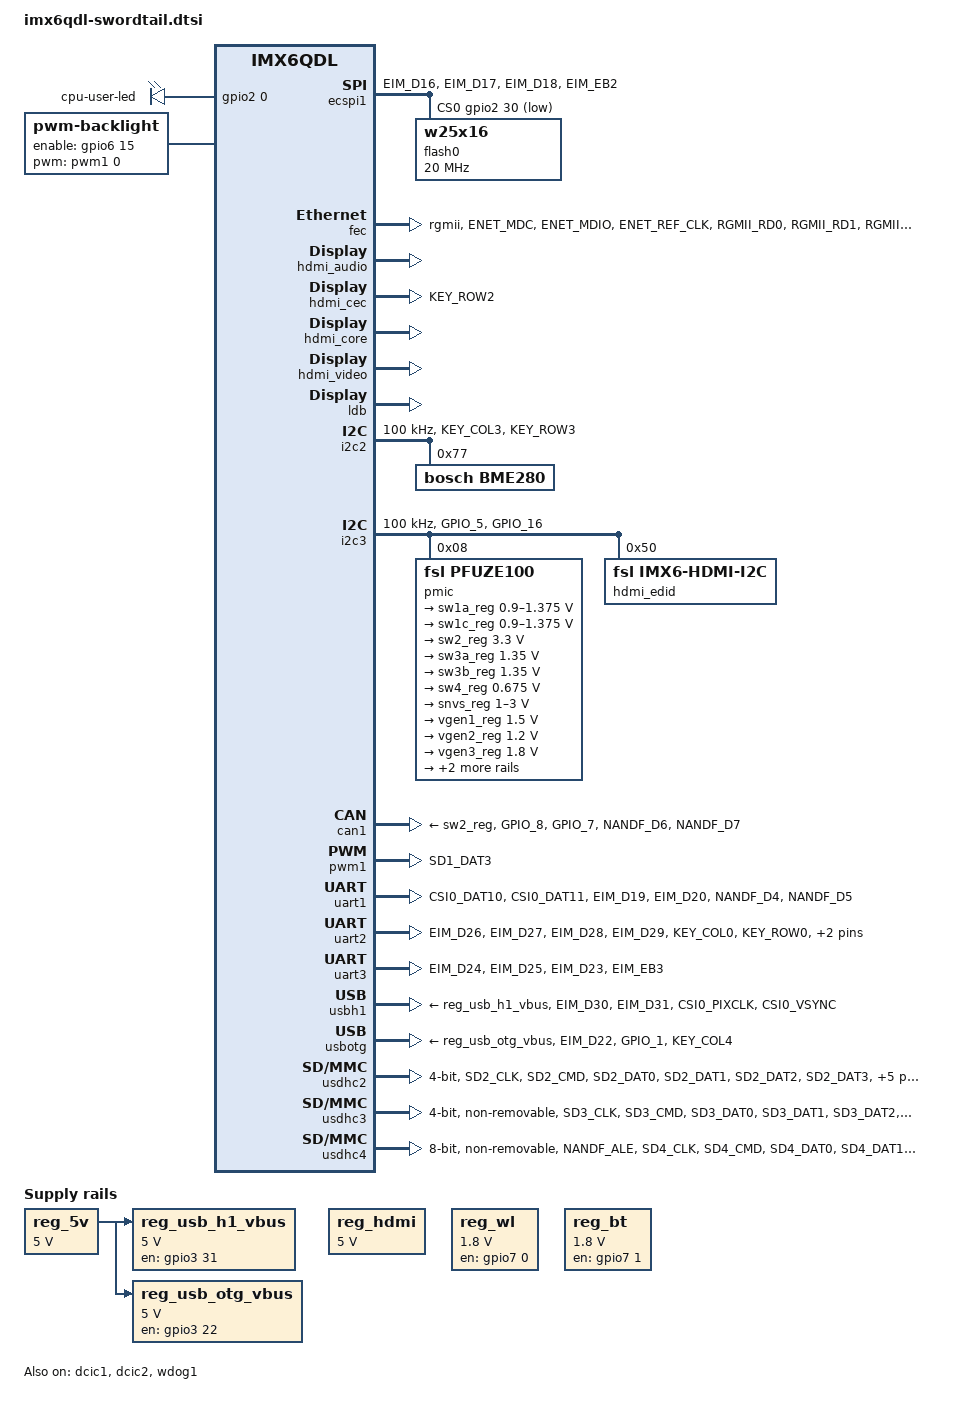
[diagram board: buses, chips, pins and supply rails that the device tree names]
/*
 * Copyright 2012-2016 Freescale Semiconductor, Inc.
 * Copyright 2011 Linaro Ltd.
 *
 * The code contained herein is licensed under the GNU General Public
 * License. You may obtain a copy of the GNU General Public License
 * Version 2 or later at the following locations:
 *
 * http://www.opensource.org/licenses/gpl-license.html
 * http://www.gnu.org/copyleft/gpl.html
 */

#include <dt-bindings/gpio/gpio.h>
#include <dt-bindings/input/input.h>

/ {
	aliases {
		mxcfb0 = &mxcfb1;
                mxcfb1 = &mxcfb2;
	};

	chosen {
		stdout-path = &uart1;
	};

	leds {
		compatible = "gpio-leds";
		cpu-user-led {
			gpios = <&gpio2 0 GPIO_ACTIVE_HIGH>;
			linux,default-trigger = "heartbeat"; /* blink PLED */
			retain-state-suspended;
		};
	};

        regulators {

                compatible = "simple-bus";
                #address-cells = <1>;
                #size-cells = <0>;
  
  
                /* MJ: updates 1/31/18, add a 5V regulator for use as vin-supply for USB and HDMI */
                reg_5v: regulator@0{
                        compatible = "regulator-fixed";
                        reg = <0>;
                        regulator-name = "5V_Supply";
                        regulator-min-microvolt = <5000000>;
                        regulator-max-microvolt = <5000000>;
	  		startup-delay-us = <70000>;
                        regulator-boot-on;
                };
  
                reg_usb_h1_vbus: regulator@1{
                        compatible = "regulator-fixed";
                        reg = <1>;
                        regulator-name = "usb_h1_vbus";
                        regulator-min-microvolt = <5000000>;
                        regulator-max-microvolt = <5000000>;
                        gpio = <&gpio3 31 GPIO_ACTIVE_HIGH>;
                        enable-active-high;
                        vin-supply = <&reg_5v>;
                };
  
                reg_usb_otg_vbus: regulator@2{
                        compatible = "regulator-fixed";
                        reg = <2>;
                        regulator-name = "usb_otg_vbus";
                        regulator-min-microvolt = <5000000>;
                        regulator-max-microvolt = <5000000>;
                        gpio = <&gpio3 22 1>;
                        enable-active-high;
                        vin-supply = <&reg_5v>;
                };
 
                reg_hdmi: regulator@5 {
                        compatible = "regulator-fixed";
                        reg = <5>;
                        regulator-name = "hdmi-5v-supply";
                        regulator-min-microvolt = <5000000>;
                        regulator-max-microvolt = <5000000>;
                        enable-active-high;
                        hdmi-5v-supply = <&reg_5v>;
                };

		reg_wl: regulator-wl { /* add */
			compatible = "regulator-fixed"; /* add */
			regulator-name = "wl"; /* add */
			gpio = <&gpio7 0 GPIO_ACTIVE_HIGH>; /* add - WiFi Regulator Enable, GPIO7_IO00 */
			startup-delay-us = <100>; /* add - enable after 100us*/
			enable-active-high; /* add */
			regulator-min-microvolt = <1800000>; /* add */
			regulator-max-microvolt = <1800000>; /* add */
			regulator-always-on; /* add */
		}; /* add */
		
		reg_bt: regulator-bt { /* add */
			compatible = "regulator-fixed"; /* add */
			regulator-name = "bt"; /* add */
			gpio = <&gpio7 1 GPIO_ACTIVE_HIGH>; /* add - Bluetooth Regulator Enable, GPIO7_IO01 */
			startup-delay-us = <100>; /* add - enable after 100us */
			enable-active-high; /* add */
			regulator-min-microvolt = <1800000>; /* add */
			regulator-max-microvolt = <1800000>; /* add */
			regulator-always-on; /* add */
		}; /* add */

	};

	sound-hdmi {
		compatible = "fsl,imx6q-audio-hdmi",
			     "fsl,imx-audio-hdmi";
		model = "imx-audio-hdmi";
		hdmi-controller = <&hdmi_audio>;
	};

	/* LVDS to VGA converter (or LVDS Panel) */
        mxcfb1: fb@0 {
                compatible = "fsl,mxc_sdc_fb";
                disp_dev = "ldb";
                interface_pix_fmt = "RGB666";
                default_bpp = <16>; 
                int_clk = <0>;
                late_init = <0>;
                status = "disabled";
        };
	backlight {
		compatible = "pwm-backlight";
		pwms = <&pwm1 0 5000000>;
		brightness-levels = <0 4 8 16 32 64 128 255>;
		default-brightness-level = <7>;
		enable-gpios = <&gpio6 15 GPIO_ACTIVE_HIGH>;
		status = "okay";
	};

        /* HDMI video settings */
        mxcfb2: fb@1 {
                compatible = "fsl,mxc_sdc_fb";
                disp_dev = "hdmi";
                interface_pix_fmt = "RGB24";
                mode_str ="1920x1080M@60";
                default_bpp = <24>;
                int_clk = <0>;
                late_init = <0>;
                status = "okay";
        };

	v4l2_out {
		compatible = "fsl,mxc_v4l2_output";
		status = "okay";
	};

};

/* no Audio Codec on Swordtail */
&audmux {
	status = "disabled";
};

&cpu0 {
/*
	arm-supply = <&sw1a_reg>;
	soc-supply = <&sw1c_reg>;
*/
};

&ecspi1 {
        fsl,spi-num-chipselects = <1>;
        cs-gpios = <
		&gpio2 30 GPIO_ACTIVE_LOW
		>; 
        pinctrl-names = "default";
        pinctrl-0 = <&pinctrl_ecspi1 &pinctrl_ecspi1_cs>;
        status = "okay";

        flash0: w25x16@0 {
                #address-cells = <1>;
                #size-cells = <1>;
                compatible = "w25x16", "jedec,spi-nor";
                spi-max-frequency = <20000000>;
                reg = <0>;
        };
};

/* no SPI2 on Swordtail */
&ecspi2 {
        status = "disabled";

};

/* no SPI3 on Swordtail */
&ecspi3 {
	status = "disabled";
};

&fec {
	pinctrl-names = "default";
	pinctrl-0 = <&pinctrl_enet>;
	phy-mode = "rgmii";
/*
	phy-reset-gpios = <&gpio1 25 GPIO_ACTIVE_LOW>;
	phy-reset-duration = <100>;
*/
	/*fsl,magic-packet;*/
	status = "okay";
        txen-skew-ps = <0>;
        txc-skew-ps = <3000>;
        rxdv-skew-ps = <0>;
        rxc-skew-ps = <3000>;
        rxd0-skew-ps = <0>;
        rxd1-skew-ps = <0>;
        rxd2-skew-ps = <0>;
        rxd3-skew-ps = <0>;
        txd0-skew-ps = <0>;
        txd1-skew-ps = <0>;
        txd2-skew-ps = <0>;
        txd3-skew-ps = <0>;
};

&gpc {
	fsl,ldo-bypass = <1>; /* use ldo-bypass, u-boot will check it and configure */
	fsl,wdog-reset = <2>; /* watchdog select of reset source */
};

&dcic1 {
	dcic_id = <0>;
	dcic_mux = "dcic-hdmi";
	status = "okay";
};

&dcic2 {
	dcic_id = <1>;
	dcic_mux = "dcic-lvds0";
	status = "okay";
};

&hdmi_audio {
	status = "okay";
};

&hdmi_cec {
	pinctrl-names = "default";
	pinctrl-0 = <&pinctrl_hdmi_cec>;
	status = "okay";
};

&hdmi_core {
	ipu_id = <0>;
	disp_id = <0>;
	status = "okay";
};

&hdmi_video {
	fsl,phy_reg_vlev = <0x0294>;
	fsl,phy_reg_cksymtx = <0x800d>;
	HDMI-supply = <&reg_hdmi>; /* 5V */
	status = "okay";
};

&ldb {
	status = "okay";

	lvds-channel@0 {
                crtc = "ipu2-di0";
		fsl,data-mapping = "spwg";
		fsl,data-width = <18>; /* change for panel type */
                primary;
		status = "okay";

		display-timings {
			native-mode = <&timing0>;
			timing0: hsd100pxn1 {
				clock-frequency = <65000000>;
				hactive = <1024>;
				vactive = <768>;
				hback-porch = <220>;
				hfront-porch = <40>;
				vback-porch = <21>;
				vfront-porch = <7>;
				hsync-len = <60>;
				vsync-len = <10>;
			};
		};
	};
};
/* I2C1 Not used in Swordtail */
&i2c1 {
	status = "disabled";
}; 

&i2c2 {
	clock-frequency = <100000>;
	pinctrl-names = "default";
	pinctrl-0 = <&pinctrl_i2c2>;
	status = "okay";

	/* test board device */
        bme280@77 {
                compatible = "bosch,bme280";
                reg = <0x77>;
        };

};

/* On-board devices only */
&i2c3 {
	clock-frequency = <100000>;
	pinctrl-names = "default";
	pinctrl-0 = <&pinctrl_i2c3>;
	status = "okay";

	pmic: pfuze100@08 {
		compatible = "fsl,pfuze100";
		reg = <0x08>;

           regulators {

                /* SW1AB = V1P375_CORE, sequence #2 */
                sw1a_reg: sw1ab {
                     regulator-min-microvolt = <900000>;
                     regulator-max-microvolt = <1375000>;
                     regulator-boot-on;
                     regulator-always-on;
                };

                /* SW1C = V1P375_SOC, sequence #3 */
                sw1c_reg: sw1c {
                     regulator-min-microvolt = <900000>;
                     regulator-max-microvolt = <1375000>;
                     regulator-boot-on;
                     regulator-always-on;
                };

                /* SW2 = V3P3, sequence #6 */
                sw2_reg: sw2 {
                     regulator-min-microvolt = <3300000>;
                     regulator-max-microvolt = <3300000>;
                     regulator-boot-on;
                     regulator-always-on;
                };

                /* SW3A and SW3B = V1P35_DDR, sequence #4 */
                sw3a_reg: sw3a {
                     regulator-min-microvolt = <1350000>;
                     regulator-max-microvolt = <1350000>;
                     regulator-boot-on;
                     regulator-always-on;
                };

                /* SW3A and SW3B = V1P35_DDR, sequence #4 */
                sw3b_reg: sw3b {
                     regulator-min-microvolt = <1350000>;
                     regulator-max-microvolt = <1350000>;
                     regulator-boot-on;
                     regulator-always-on;
                };

                /* SW4 = V0P675_DDR_VTT = 0.5(SW3A) when VTT = Enabled, sequence #4 */
                sw4_reg: sw4 {
                     regulator-min-microvolt = <675000>;
                     regulator-max-microvolt = <675000>;
                     regulator-boot-on;
                     regulator-always-on;
                };

                /* SWBST (NOT USED), sequence #0 */

                /* VSNVS = V3_VSNVS (Coin Cell/LDO in PMIC), not sequenced */
                /* Always on per battery or on per Vin */
                snvs_reg: vsnvs {
                     regulator-min-microvolt = <1000000>;
                     regulator-max-microvolt = <3000000>;
                     regulator-boot-on;
                     regulator-always-on;
                };

                /* VREFDDR = V0P675_DDR_VREF, sequence #4 */
                vref_reg: vrefddr {
                     regulator-boot-on;
                     regulator-always-on;
                };

                /* VGEN1 = V1P5_MINI, sequence #31 */
                /* last rail to turn on, delays reset release */
                vgen1_reg: vgen1 {
                     regulator-min-microvolt = <1500000>;
                     regulator-max-microvolt = <1500000>;
                     /*regulator-boot-on;*/
                     /*regulator-always-on;*/
				
				/* Suspend-to-RAM allows for turning off ??? */
				/*regulator-state-mem {
					regulator-off-in-suspend;
				};
                           */
				/* Suspend-to-DISK allows for turning off ??? */
				/*regulator-state-disk {
					regulator-off-in-suspend;
				};
                           */
			};
                /* VGEN2 = V1P2_ETH, sequence #9 */
                vgen2_reg: vgen2 {
                     regulator-min-microvolt = <1200000>;
                     regulator-max-microvolt = <1200000>;
                     regulator-boot-on;
                     regulator-always-on;
                };

                /* VGEN3 = V1P8_AUDIO, sequence #6 */
                vgen3_reg: vgen3 {
                     regulator-min-microvolt = <1800000>;
                     regulator-max-microvolt = <1800000>;
                     regulator-boot-on;
                     regulator-always-on;
                };

                /* VGEN4 (NOT USED), sequence #0 */

                /* VGEN5 = V2P5_ETH, sequence #8 */
                vgen5_reg: vgen5 {
                     regulator-min-microvolt = <2500000>;
                     regulator-max-microvolt = <2500000>;
                     regulator-boot-on;
                     regulator-always-on;
                };

                /* VGEN6 = V3_ALWAYS, sequence #1 */
                vgen6_reg: vgen6 {
                     regulator-min-microvolt = <3000000>;
                     regulator-max-microvolt = <3000000>;
                     regulator-boot-on;
                     regulator-always-on;
                };
	    };
	};

        hdmi_edid: edid@50 {
                compatible = "fsl,imx6-hdmi-i2c";
                reg = <0x50>;
        };

};

&clks {
        assigned-clocks = <&clks IMX6QDL_CLK_LDB_DI0_SEL>,
                          <&clks IMX6QDL_CLK_LDB_DI1_SEL>;
        assigned-clock-parents = <&clks IMX6QDL_CLK_PLL2_PFD0_352M>,
                                 <&clks IMX6QDL_CLK_PLL2_PFD0_352M>;
};

&can1 {
        pinctrl-names = "default";
        pinctrl-0 = <&pinctrl_flexcan1>;
	xceiver-supply = <&sw2_reg>; 
        status = "okay";
};

/* no CAN2 on Swordtail */
&can2 {
        status = "disabled";
};

/* MJ - Added Wi-Fi and BT (sd3 and gpios = pinctrl_usdhc3; uart3=pinctrl_uart3) */
/* MJ - Added Cellular (uart2 and gpios = pinctrl_uart2) */

&iomuxc {
	pinctrl-names = "default";
	pinctrl-0 = <&pinctrl_hog>;
	
	imx6qdl-zebra {
		pinctrl_hog: hoggrp {
			fsl,pins = <
				/* UNUSED PINS -- set drivers = Hi-z and enable 100k pull res */
				MX6QDL_PAD_CSI0_DAT12__GPIO5_IO30	0x0000B000
				MX6QDL_PAD_CSI0_DAT13__GPIO5_IO31	0x0000B000
				MX6QDL_PAD_CSI0_DAT14__GPIO6_IO00	0x0000B000
				MX6QDL_PAD_CSI0_DAT15__GPIO6_IO01	0x0000B000
				MX6QDL_PAD_CSI0_DAT16__GPIO6_IO02	0x0000B000
				MX6QDL_PAD_CSI0_DAT17__GPIO6_IO03	0x0000B000
				MX6QDL_PAD_CSI0_DAT18__GPIO6_IO04	0x0000B000
				MX6QDL_PAD_CSI0_DAT19__GPIO6_IO05	0x0000B000
				MX6QDL_PAD_CSI0_DAT4__GPIO5_IO22	0x0000B000
				MX6QDL_PAD_CSI0_DAT5__GPIO5_IO23	0x0000B000
				MX6QDL_PAD_CSI0_DAT6__GPIO5_IO24	0x0000B000
				MX6QDL_PAD_CSI0_DAT7__GPIO5_IO25	0x0000B000
				MX6QDL_PAD_CSI0_DAT8__GPIO5_IO26	0x0000B000
				MX6QDL_PAD_CSI0_DAT9__GPIO5_IO27	0x0000B000
				MX6QDL_PAD_CSI0_DATA_EN__GPIO5_IO20	0x0000B000
				MX6QDL_PAD_CSI0_MCLK__GPIO5_IO19	0x0000B000
				MX6QDL_PAD_DI0_DISP_CLK__GPIO4_IO16	0x0000B000
				MX6QDL_PAD_DI0_PIN15__GPIO4_IO17	0x0000B000
				MX6QDL_PAD_DI0_PIN3__GPIO4_IO19		0x0000B000
				MX6QDL_PAD_DI0_PIN4__GPIO4_IO20		0x0000B000
				MX6QDL_PAD_DISP0_DAT11__GPIO5_IO05	0x0000B000
				MX6QDL_PAD_DISP0_DAT13__GPIO5_IO07	0x0000B000
				MX6QDL_PAD_DISP0_DAT14__GPIO5_IO08	0x0000B000
				MX6QDL_PAD_DISP0_DAT16__GPIO5_IO10	0x0000B000
				MX6QDL_PAD_DISP0_DAT17__GPIO5_IO11	0x0000B000
				MX6QDL_PAD_DISP0_DAT18__GPIO5_IO12	0x0000B000
				MX6QDL_PAD_DISP0_DAT19__GPIO5_IO13	0x0000B000
				MX6QDL_PAD_DISP0_DAT20__GPIO5_IO14	0x0000B000
				MX6QDL_PAD_DISP0_DAT21__GPIO5_IO15	0x0000B000
				MX6QDL_PAD_DISP0_DAT23__GPIO5_IO17	0x0000B000
				MX6QDL_PAD_DISP0_DAT0__GPIO4_IO21	0x0000B000
				MX6QDL_PAD_DISP0_DAT1__GPIO4_IO22	0x0000B000
				MX6QDL_PAD_DISP0_DAT2__GPIO4_IO23	0x0000B000
				MX6QDL_PAD_DISP0_DAT3__GPIO4_IO24	0x0000B000
				MX6QDL_PAD_DISP0_DAT4__GPIO4_IO25	0x0000B000
				MX6QDL_PAD_DISP0_DAT5__GPIO4_IO26	0x0000B000
				MX6QDL_PAD_DISP0_DAT6__GPIO4_IO27	0x0000B000
				MX6QDL_PAD_DISP0_DAT7__GPIO4_IO28	0x0000B000
				MX6QDL_PAD_EIM_A16__GPIO2_IO22		0x0000B000
				MX6QDL_PAD_EIM_A17__GPIO2_IO21		0x0000B000
				MX6QDL_PAD_EIM_A18__GPIO2_IO20		0x0000B000
				MX6QDL_PAD_EIM_A19__GPIO2_IO19		0x0000B000
				MX6QDL_PAD_EIM_A20__GPIO2_IO18		0x0000B000
				MX6QDL_PAD_EIM_A21__GPIO2_IO17		0x0000B000
				MX6QDL_PAD_EIM_A22__GPIO2_IO16		0x0000B000
				MX6QDL_PAD_EIM_A23__GPIO6_IO06		0x0000B000
				MX6QDL_PAD_EIM_A24__GPIO5_IO04		0x0000B000
				MX6QDL_PAD_EIM_BCLK__GPIO6_IO31		0x0000B000
				MX6QDL_PAD_EIM_DA0__GPIO3_IO00		0x0000B000
				MX6QDL_PAD_EIM_DA1__GPIO3_IO01		0x0000B000
				MX6QDL_PAD_EIM_DA10__GPIO3_IO10		0x0000B000
				MX6QDL_PAD_EIM_DA11__GPIO3_IO11		0x0000B000
				MX6QDL_PAD_EIM_DA12__GPIO3_IO12		0x0000B000
				MX6QDL_PAD_EIM_DA13__GPIO3_IO13		0x0000B000
				MX6QDL_PAD_EIM_DA14__GPIO3_IO14		0x0000B000
				MX6QDL_PAD_EIM_DA15__GPIO3_IO15		0x0000B000
				MX6QDL_PAD_EIM_DA2__GPIO3_IO02		0x0000B000
				MX6QDL_PAD_EIM_DA3__GPIO3_IO03		0x0000B000
				MX6QDL_PAD_EIM_DA4__GPIO3_IO04		0x0000B000
				MX6QDL_PAD_EIM_DA5__GPIO3_IO05		0x0000B000
				MX6QDL_PAD_EIM_DA6__GPIO3_IO06		0x0000B000
				MX6QDL_PAD_EIM_DA7__GPIO3_IO07		0x0000B000
				MX6QDL_PAD_EIM_DA8__GPIO3_IO08		0x0000B000
				MX6QDL_PAD_EIM_DA9__GPIO3_IO09		0x0000B000
				MX6QDL_PAD_EIM_D21__GPIO3_IO21		0x0000B000
				MX6QDL_PAD_EIM_EB0__GPIO2_IO28		0x0000B000
				MX6QDL_PAD_EIM_EB1__GPIO2_IO29		0x0000B000
				MX6QDL_PAD_EIM_LBA__GPIO2_IO27		0x0000B000
				MX6QDL_PAD_EIM_WAIT__GPIO5_IO00		0x0000B000
				MX6QDL_PAD_ENET_RX_ER__GPIO1_IO24	0x0000B000
				MX6QDL_PAD_ENET_RXD0__GPIO1_IO27	0x0000B000
				MX6QDL_PAD_ENET_TXD0__GPIO1_IO30	0x0000B000
				MX6QDL_PAD_ENET_TXD1__GPIO1_IO29	0x0000B000
				MX6QDL_PAD_GPIO_0__GPIO1_IO00		0x0000B000
				MX6QDL_PAD_GPIO_17__GPIO7_IO12		0x0000B000
				MX6QDL_PAD_GPIO_18__GPIO7_IO13		0x0000B000
				MX6QDL_PAD_GPIO_19__GPIO4_IO05		0x0000B000
				MX6QDL_PAD_KEY_COL2__GPIO4_IO10		0x0000B000
				MX6QDL_PAD_KEY_ROW4__GPIO4_IO15		0x0000B000
				MX6QDL_PAD_NANDF_CS0__GPIO6_IO11	0x0000B000
				MX6QDL_PAD_NANDF_CS1__GPIO6_IO14	0x0000B000
				MX6QDL_PAD_NANDF_D1__GPIO2_IO01		0x0000B000				
				MX6QDL_PAD_NANDF_D2__GPIO2_IO02		0x0000B000
				MX6QDL_PAD_NANDF_RB0__GPIO6_IO10	0x0000B000
				MX6QDL_PAD_NANDF_WP_B__GPIO6_IO09	0x0000B000
                                MX6QDL_PAD_EIM_CS0__GPIO2_IO23          0x0000B000
                                MX6QDL_PAD_EIM_OE__GPIO2_IO25           0x0000B000
                                MX6QDL_PAD_EIM_CS1__GPIO2_IO24          0x0000B000
				MX6QDL_PAD_EIM_RW__GPIO2_IO26           0x0000B000

                                /* Programmable LED (CPU_PLED) output for User I/O */
				MX6QDL_PAD_NANDF_D0__GPIO2_IO00         0x0001B018
				/* Wireless Disable (DISABLE_W#), default to off (pull-up since active low) */
				MX6QDL_PAD_NANDF_D3__GPIO2_IO03		0x0001B098

                                /* Updated for TP - can probe for 24MHz ref clk */
                                MX6QDL_PAD_GPIO_3__XTALOSC_REF_CLK_24M     0x00013098 
                                /* Updated for TP - can probe for 32KHz ref clk */
				/* MJ: pin repurposed as FLEXCAN1_RX */ 
                                /*MX6QDL_PAD_GPIO_8__XTALOSC_REF_CLK_32K     0x00013098*/ 

                                /* COMP_IRQ# input on Tetra and Zebra, NC for Swordtail */
				/* 0x0000B000 assignment is only pull-up enabled */
				MX6QDL_PAD_DI0_PIN2__GPIO4_IO18            0x0000B000
                                
				/* PMIC_INT# input (pull-up = off by default) */
				MX6QDL_PAD_DISP0_DAT12__GPIO5_IO06         0x0001B0B0

                                /* was USB_HUB_RST# out for Tetra, NC for Zebra and Swordtail */
				/* 0x0000B000 assignment is only pull-up enabled */
				MX6QDL_PAD_DISP0_DAT22__GPIO5_IO16         0x0000B000

                                /* SOC_RSTOUT# out (pull-up = off by default) */
 				MX6QDL_PAD_EIM_A25__GPIO5_IO02             0x0001B030
   
                                /* LVDS control/status signals on Tetra and Swordtail */ 
				/* LVDS_BKLTEN: Slow slew, 90 Ohm, Slow speed, pull-down settings */
				MX6QDL_PAD_NANDF_CS2__GPIO6_IO15	   0x00013018                       		
				/* GPIO6_IO16 is LVDS_PANEL_PWREN output for Tetra and Swordtail */
                                MX6QDL_PAD_NANDF_CS3__GPIO6_IO16           0x00013018 
                                /* GPIO6_IO07 is PG_V3P3_LVDS input for Tetra and Swordtail */
				MX6QDL_PAD_NANDF_CLE__GPIO6_IO07           0x0001B018 

                                /* section for multifunction pins. Choose one function for each pin */                                  
                                /* PIN1: GPIO1/GPT_OUT1/PWM_OUT4 */
                                MX6QDL_PAD_SD1_CMD__GPIO1_IO18             0x0001B018 /* GPIO 1 */
                                /* MX6QDL_PAD_SD1_CMD__PWM4_OUT               0x0001B018 */ /* PWM_OUT4 */
                                /* MX6QDL_PAD_SD1_CMD__GPT_COMPARE1           0x0001B018 */ /* GPT_OUT1 */

				/* PIN2: GPIO2/GPT_IN1 */
                                MX6QDL_PAD_SD1_DAT0__GPIO1_IO16            0x0001B018 /* GPIO 2 */
                                /* MX6QDL_PAD_SD1_DAT0__GPT_CAPTURE1          0x0001B018 */ /* GPT_IN1 */

				/* PIN3: GPIO3/GPT_IN2/PWM_OUT3 */
                                MX6QDL_PAD_SD1_DAT1__GPIO1_IO17            0x0001B018 /* GPIO 3 */
                                /* MX6QDL_PAD_SD1_DAT1__PWM3_OUT              0x0001B018 */ /* PWM_OUT3 */
                                /* MX6QDL_PAD_SD1_DAT1__GPT_CAPTURE2          0x0001B018 */ /* GPT_IN2 */

				/* PIN4: GPIO4/GPT_OUT2/WDOG1_RST# */
                                MX6QDL_PAD_SD1_DAT2__GPIO1_IO19            0x0001B018 /* GPIO 4 */
                                /* MX6QDL_PAD_SD1_DAT2__GPT_COMPARE2          0x0001B018 */ /* GPT_OUT2 */
                                /* MX6QDL_PAD_SD1_DAT2__WDOG1_RESET_B_DEB     0x0001B018 */ /* WDOG1_RST# */

				/* PIN5: GPIO5/GPT_CLKIN */
                                MX6QDL_PAD_SD1_CLK__GPIO1_IO20             0x0001B018 /* GPIO 5 */
                                /* MX6QDL_PAD_SD1_CLK__GPT_CLKIN              0x0001B018 */ /* GPT_CLKIN */

				/* PIN6: GPIO 6 */
                                MX6QDL_PAD_DISP0_DAT10__GPIO4_IO31         0x0001B018 /* GPIO 6 */

				/* PIN7: GPIO7/PWM_OUT2/WDOG2# */
                                MX6QDL_PAD_DISP0_DAT9__GPIO4_IO30          0x0001B018 /* GPIO 7 */
                                /* MX6QDL_PAD_DISP0_DAT9__PWM2_OUT            0x0001B018 */ /*PWM_OUT2 */
				/* MX6QDL_PAD_DISP0_DAT9__WDOG2_B            0x0001B018 */ /*WDOG2# */

				/* PIN8: GPIO 8 */
                                MX6QDL_PAD_DISP0_DAT8__GPIO4_IO29          0x0001B018 /* GPIO 8 */

                                /* GP_IRQ#, set as open drain (might have mult. drivers) */
                                MX6QDL_PAD_DISP0_DAT15__GPIO5_IO09         0x0001B818 

			>;
		};

		pinctrl_flexcan1: flexcan1grp {
			fsl,pins = <
				/* MJ - Had to move the RX and TX pins for Swordtail */
				MX6QDL_PAD_GPIO_8__FLEXCAN1_RX             0x0001B098
				MX6QDL_PAD_GPIO_7__FLEXCAN1_TX             0x0001B098
				/* currently unused CAN transceiver control signals */
                                /* set to 100k pull-down, 90 Ohm, low spd, slow slew */ 
                                /* FLEXCAN1_CTRL - pull-down */
				MX6QDL_PAD_NANDF_D6__GPIO2_IO06            0x00013018
                                /* FLEXCAN1_STBY - pull-down */ /* MJ - Had to move this pin */
				MX6QDL_PAD_NANDF_D7__GPIO2_IO07            0x00013018
			>;
		};

		pinctrl_ecspi1: ecspi1grp {
			fsl,pins = <
                                /* set fast slew, 33 Ohm driver, pull-down */
				MX6QDL_PAD_EIM_D16__ECSPI1_SCLK            0x000130B9
				MX6QDL_PAD_EIM_D17__ECSPI1_MISO            0x00013099
				MX6QDL_PAD_EIM_D18__ECSPI1_MOSI            0x00013099
			>;
		};
		pinctrl_ecspi1_cs: ecspi1cs {
                        fsl,pins = <
				MX6QDL_PAD_EIM_EB2__GPIO2_IO30		   0x0001B098
                        >;
                };

		pinctrl_i2c2: i2c2grp {
			fsl,pins = <
				MX6QDL_PAD_KEY_COL3__I2C2_SCL              0x4001b899
				MX6QDL_PAD_KEY_ROW3__I2C2_SDA              0x4001b899
			 >;
		};

		/* MJ - this is the on-board devices I2C bus */
                pinctrl_i2c3: i2c3grp {
                        fsl,pins = <
                                MX6QDL_PAD_GPIO_5__I2C3_SCL                0x4001b899
                                MX6QDL_PAD_GPIO_16__I2C3_SDA               0x4001b899
                        >;
                };

		/*  MJ changes to pin control for ENET_MDIO (lower drive strength 60 Ohm) 
                 *  and ENET_CRS_DV (RGMII_RST#) set as open-drain output with pull-up */
		pinctrl_enet: enetgrp {
			fsl,pins = <
				MX6QDL_PAD_ENET_MDC__ENET_MDC              0x0001B0B0
				MX6QDL_PAD_ENET_MDIO__ENET_MDIO            0x0001B0A0
				MX6QDL_PAD_ENET_REF_CLK__ENET_TX_CLK       0x0001B0B0
				MX6QDL_PAD_RGMII_RD0__RGMII_RD0            0x0001B030
				MX6QDL_PAD_RGMII_RD1__RGMII_RD1            0x0001B030
				MX6QDL_PAD_RGMII_RD2__RGMII_RD2            0x0001B030
				MX6QDL_PAD_RGMII_RD3__RGMII_RD3            0x0001B030
				MX6QDL_PAD_RGMII_RXC__RGMII_RXC            0x00013030
				MX6QDL_PAD_RGMII_RX_CTL__RGMII_RX_CTL      0x00013030
				MX6QDL_PAD_RGMII_TD0__RGMII_TD0            0x0001B030
				MX6QDL_PAD_RGMII_TD1__RGMII_TD1            0x0001B030
				MX6QDL_PAD_RGMII_TD2__RGMII_TD2            0x0001B030
				MX6QDL_PAD_RGMII_TD3__RGMII_TD3            0x0001B030
				MX6QDL_PAD_RGMII_TXC__RGMII_TXC            0x00013030
				MX6QDL_PAD_RGMII_TX_CTL__RGMII_TX_CTL      0x00013030
                                /* RGMII_RST#, preserve u-boot pad control like SabreSD */
				MX6QDL_PAD_ENET_CRS_DV__GPIO1_IO25         0x80000000
				/* RGMII_INT# and RGMII_INT#_STATUS inputs respectively (GPIO)*/
                                MX6QDL_PAD_ENET_RXD1__GPIO1_IO26           0x0001B0B0
                                MX6QDL_PAD_ENET_TX_EN__GPIO1_IO28          0x0001B0B0
			>;
		};

		pinctrl_hdmi_cec: hdmicecgrp {
			fsl,pins = <
				MX6QDL_PAD_KEY_ROW2__HDMI_TX_CEC_LINE      0x00010898
			>;
		};

		pinctrl_pwm1: pwm1grp {
			fsl,pins = <
				/* LVDS_PWMO: Fast slew, 90 Ohm, Medium speed settings */
				MX6QDL_PAD_SD1_DAT3__PWM1_OUT              0x0001B099
			>;
		};

		pinctrl_usbotg: usbotggrp {
			fsl,pins = <
				/* MX6QDL_PAD_EIM_D22__USB_OTG_PWR            0x00013098*/
                                MX6QDL_PAD_EIM_D22__GPIO3_IO22  	   0x010b0 /* PWR EN as GPIO */
				MX6QDL_PAD_GPIO_1__USB_OTG_ID              0x10759 /*0x0001B0B0*/
				MX6QDL_PAD_KEY_COL4__USB_OTG_OC            0x0001B0B0
			>;
		};

                pinctrl_usbh1: usbh1grp {
                        fsl,pins = <
                                MX6QDL_PAD_EIM_D30__USB_H1_OC           0x0001B0B0
	                        /*MX6QDL_PAD_EIM_D31__USB_H1_PWR          0x0001B098*/
				MX6QDL_PAD_EIM_D31__GPIO3_IO31          0x010b0 /* PWR EN as GPIO */
				/* Updated for USB Host Port eSwitch Controls, pull-down, 90 Ohm, slow slew */
                                MX6QDL_PAD_CSI0_PIXCLK__GPIO5_IO18      0x00013098 /* USB1_SW_OE#, replaced ARM_EVENTO Test Point */
				MX6QDL_PAD_CSI0_VSYNC__GPIO5_IO21	0x00013098 /* USB1_SW_SEL */
                        >;
                };
		
             /* MJ: default = 0x0001B0B0, update some to lower drive strength and  
                slow down the speed (Set to Slow instead of default of Medium) */
		pinctrl_uart1: uart1grp {
			fsl,pins = <
				/* DCE Mode */
				MX6QDL_PAD_CSI0_DAT10__UART1_TX_DATA       0x0001B018
				MX6QDL_PAD_CSI0_DAT11__UART1_RX_DATA       0x0001B018
                                MX6QDL_PAD_EIM_D19__UART1_CTS_B            0x0001B018
                                MX6QDL_PAD_EIM_D20__UART1_RTS_B            0x0001B018
                                /* RS-232 transceiver signals for COM1/serial debug port */
                                /* XCVR1_RXEN#, pull-down to auto-enable */
				MX6QDL_PAD_NANDF_D4__GPIO2_IO04            0x00013018
                                /* XCVR1_SHDN#, pull-up to disable shutdown of device */
				MX6QDL_PAD_NANDF_D5__GPIO2_IO05            0x0001B018
			>;
		};

		/* MJ: need to set these up for DTE mode matching, imx6q/dl-pinfunc.h naming convention info sets 
		 * up the IOMUXC_UART2_UART_RX_DATA_SELECT_INPUT accordingly when named this way, so all that
		 * is left is to set this UART to initialize in DTE mode */
                pinctrl_uart2: uart2grp {
                        fsl,pins = <
				/* Cellular Socket UART interface */
				/* schematic name = UART2_RXD */
                                MX6QDL_PAD_EIM_D26__UART2_RX_DATA          0x0001B018  /* input pin for DTE mode */
				/* schematic name = UART2_TXD */
                                MX6QDL_PAD_EIM_D27__UART2_TX_DATA          0x0001B018  /* output pin for DTE mode */
				/* schematic name = UART2_CTS# */
				MX6QDL_PAD_EIM_D28__UART2_RTS_B		   0x0001B018  /* input pin for DTE mode */
				/* schematic name = UART2_RTS# */
				MX6QDL_PAD_EIM_D29__UART2_CTS_B		   0x0001B018  /* output pin for DTE mode */
				/* Add other Cellular Socket GPIOs to this so the pinctrls are initialized with UART2 */
				/* CELL_PWRON has an RC on the schematic to automatically enable the cellular modem with a delay,
				   but allow i.MX6 control as well.  Set to open drain without pull resistors in i.MX6. */
				/* Note: to provide control this may need to be coordinated with CELL_RESET */
        			MX6QDL_PAD_KEY_COL0__GPIO4_IO06            0x00010898 /* CELL_PWRON -- open drain with no pull res! */
				/* Use pull-up for default of CELL_RESET (hold in reset until want to wake up, drive low to clear reset) */
				/* Note: to do this we probably need some kind of driver initialization process run */
				MX6QDL_PAD_KEY_ROW0__GPIO4_IO07	           0x0001B098 /* CELL_RESET */  
				/* Use pull-down for default of GPIOs */
				MX6QDL_PAD_KEY_COL1__GPIO4_IO08            0x00013098 /* CELL_GPIO_PIN19 -- RING on Skywire, I/O on Digi */   				MX6QDL_PAD_KEY_ROW1__GPIO4_IO09            0x00013098 /* CELL_GPIO_PIN09 -- WAKE on Skywire, DTR# on Digi */
                        >;
                };

		/* MJ: need to set these up for DTE mode matching, imx6q/dl-pinfunc.h naming convention info sets 
		 * up the IOMUXC_UART3_UART_RX_DATA_SELECT_INPUT accordingly when named this way, so all that
		 * is left is to set this UART to initialize in DTE mode */
		pinctrl_uart3: uart3grp {
			fsl,pins = <
				/* schematic name = UART3_RXD */
				MX6QDL_PAD_EIM_D24__UART3_RX_DATA          0x0001B018  /* input pin for DTE mode */
				/* schematic name = UART3_TXD */
				MX6QDL_PAD_EIM_D25__UART3_TX_DATA          0x0001B018  /* output pin for DTE mode */
				/* schematic name = UART3_CTS# */
				MX6QDL_PAD_EIM_D23__UART3_RTS_B		   0x0001B018  /* input pin for DTE mode */
				/* schematic name = UART3_RTS# */
				MX6QDL_PAD_EIM_EB3__UART3_CTS_B		   0x0001B018  /* output pin for DTE mode */
			>;
		};
		
		pinctrl_usdhc2: usdhc2grp {
			fsl,pins = <
				/* clk and cmd have 22 Ohm series res on-board, so set to 25 Ohm@3.3V */
				MX6QDL_PAD_SD2_CLK__SD2_CLK                0x000100B1 /* updated pull res off */
				MX6QDL_PAD_SD2_CMD__SD2_CMD                0x000170B1 /* updated 47k pull-up */
				/* data don't have series resistors, so set to 50 Ohm@3.3V */
				MX6QDL_PAD_SD2_DAT0__SD2_DATA0             0x00017098 /* updated 47k pull-up */
				MX6QDL_PAD_SD2_DAT1__SD2_DATA1             0x00017098 /* updated 47k pull-up */
				MX6QDL_PAD_SD2_DAT2__SD2_DATA2             0x00017098 /* updated 47k pull-up */
				MX6QDL_PAD_SD2_DAT3__SD2_DATA3             0x00017098 /* updated 47k pull-up */
				MX6QDL_PAD_GPIO_2__SD2_WP                  0x0001B098 /* 100k pull-up */
				MX6QDL_PAD_GPIO_4__SD2_CD_B                0x0001B098 /* 100k pull-up */
				MX6QDL_PAD_GPIO_6__SD2_LCTL                0x0001B098 /* 100k pull-up */
			>;
		};

		/* MJ add SD3 interface for WiFi, use 47k pull-ups, these are 1.8V signals 50 Ohm@1.8V drive! */
		pinctrl_usdhc3: usdhc3grp {
			fsl,pins = <
				/* SD3 - 1.8V signals */
				/* clk and cmd have 22 Ohm series res on-board, so set to 33 Ohm@1.8V */
				MX6QDL_PAD_SD3_CLK__SD3_CLK                0x00010079 /* 3.3V Sabre 0x10059 */
				MX6QDL_PAD_SD3_CMD__SD3_CMD                0x00017079 /* 3.3V Sabre 0x17059 */
				/* data don't have series resistors, so set to 50 Ohm@1.8V & medium frequency */
				MX6QDL_PAD_SD3_DAT0__SD3_DATA0             0x00017069 /* 3.3V Sabre 0x17059 */
				MX6QDL_PAD_SD3_DAT1__SD3_DATA1             0x00017069 /* 3.3V Sabre 0x17059 */
				MX6QDL_PAD_SD3_DAT2__SD3_DATA2             0x00017069 /* 3.3V Sabre 0x17059 */
				MX6QDL_PAD_SD3_DAT3__SD3_DATA3             0x00017069 /* 3.3V Sabre 0x17059 */
				MX6QDL_PAD_SD3_RST__GPIO7_IO08		   0x00013069 /* WiFi Host Wake (in, pull-down) */
				MX6QDL_PAD_SD3_DAT6__GPIO6_IO18		   0x00013068 /* BT Host Wake (in, pull-down) */
				MX6QDL_PAD_SD3_DAT7__GPIO6_IO17		   0x00013068 /* BT Device Wake (out, pull-down) */
				/* Bluetooth Regulator Enable (BT_ENABLE) output */
				/* default to off with 100k pull-down, "reg_bt" enables */
				MX6QDL_PAD_SD3_DAT4__GPIO7_IO01		   0x00003029 /* 50 Ohms @ 1.8V */
				/* WiFi Regulator Enable (WIFI_ENABLE) output */
				/* default to off with 100k pull-down, "reg_wifi" enables */
				MX6QDL_PAD_SD3_DAT5__GPIO7_IO00		   0x00003029 /* 50 Ohms @ 1.8V */
			>;
		};

		pinctrl_usdhc4: usdhc4grp {
			fsl,pins = <
				MX6QDL_PAD_NANDF_ALE__SD4_RESET            0x0001B098
				MX6QDL_PAD_SD4_CLK__SD4_CLK                0x000100B1
				MX6QDL_PAD_SD4_CMD__SD4_CMD                0x000170B1
				MX6QDL_PAD_SD4_DAT0__SD4_DATA0             0x00017098
				MX6QDL_PAD_SD4_DAT1__SD4_DATA1             0x00017098
				MX6QDL_PAD_SD4_DAT2__SD4_DATA2             0x00017098
				MX6QDL_PAD_SD4_DAT3__SD4_DATA3             0x00017098
				MX6QDL_PAD_SD4_DAT4__SD4_DATA4             0x00017098
				MX6QDL_PAD_SD4_DAT5__SD4_DATA5             0x00017098
				MX6QDL_PAD_SD4_DAT6__SD4_DATA6             0x00017098
				MX6QDL_PAD_SD4_DAT7__SD4_DATA7             0x00017098
 			>;
		};

           /* MJ: default = 0x0001B0B0, update some to lower drive strength and  
              slow down the speed (Set to Slow instead of default of Medium) */
		pinctrl_wdog: wdoggrp {
			fsl,pins = <
				MX6QDL_PAD_GPIO_9__WDOG1_B                 0x0001B018
			>;
		};
	};

};

&mipi_csi {

	status = "disabled";

};
&mipi_dsi {

	status = "disabled";

};

/* Set pwm to "okay" if enabled in pin mux settings, otherwise "disabled" */
&pwm1 {
	pinctrl-names = "default";
	pinctrl-0 = <&pinctrl_pwm1>;
	status = "okay";
};

&pwm2 {
        status = "disabled";
};

&pwm3 {
        status = "disabled";
};

&pwm4 {
        status = "disabled";
};



/* Add these supply assignments from the Sabre SD board imx6qdl-sabresd.dtsi */
/* "&reg_*" names are used in imx6q.dtsi but get set up in our board file */ 
&reg_arm {
       vin-supply = <&sw1a_reg>;
};

&reg_pu {
       vin-supply = <&sw1c_reg>;
};

&reg_soc {
       vin-supply = <&sw1c_reg>;
};
&snvs_poweroff {
	status = "okay"; /* set to disable in order to disable PMIC control from iMX6 */
};


&ssi2 {
        status = "disabled";
};


&uart1 {
	pinctrl-names = "default";
	pinctrl-0 = <&pinctrl_uart1>;
	fsl,uart-has-rtscts;
	/*fsl,dte-mode;*/ /* wired to transceiver for DCE mode */
	status = "okay";
};

&uart2 {
        pinctrl-names = "default";
        pinctrl-0 = <&pinctrl_uart2>;
	fsl,uart-has-rtscts; /* flow control */
        fsl,dte-mode; /* DTE mode for Cellular interface */
        status = "okay";
};

&uart3 {
	pinctrl-names = "default";
	pinctrl-0 = <&pinctrl_uart3>;
	fsl,uart-has-rtscts; /* flow control */
        fsl,dte-mode; /* DTE mode for Bluetooth interface */
	status = "okay";
};

&usbh1 {
	vbus-supply = <&reg_usb_h1_vbus>;
/*        dr_mode = "host"; */
        disable-over-current;
        pinctrl-names = "default";
        pinctrl-0 = <&pinctrl_usbh1>;
	status = "okay";
};

&usbotg {
	vbus-supply = <&reg_usb_otg_vbus>;
	pinctrl-names = "default";
	pinctrl-0 = <&pinctrl_usbotg>;
	disable-over-current;
	srp-disable;
	hnp-disable;
	adp-disable;
	status = "okay";
};

&usbphy1 {
     /* Default 0x7 is nominal resistor trimming setting, SabreSD uses 0x5 */
     tx-d-cal = <0x7>; 
};

&usbphy2 {
     /* Default 0x7 is nominal resistor trimming setting, SabreSD uses 0x5 */
     tx-d-cal = <0x7>;
};

/* Maybe explicitly disabling these unused blocks will lower power */
&weim {
 	status = "disabled";
 };
&pcie {
 	status = "disabled";
 };
&uart4 {
	status = "disabled";
};
&uart5 {
	status = "disabled";
};
&spdif {
	status = "disabled";
};
&gpmi {
	status = "disabled";
};
&usdhc1 {
	status = "disabled";
};

&usdhc2 {
	pinctrl-names = "default";
	pinctrl-0 = <&pinctrl_usdhc2>;
	bus-width = <4>;
	cd-gpios = <&gpio1 4 GPIO_ACTIVE_LOW>;
	wp-gpios = <&gpio1 2 GPIO_ACTIVE_HIGH>;
	no-1-8-v;
	keep-power-in-suspend;
	enable-sdio-wakeup;
	status = "okay";
};

/* MJ - this part needs some work... not sure how it needs to be initialized for Sterling-LWB */
&usdhc3 {
	/* copied the commented out stuff below... I am thinking the "interrupts" assignment should contain the wake gpio
	   (can we use 2), but I am not sure -- needs more research.  Also, need to put in compatible with Sterling-LWB? */
	/*compatible = "fsl,imx6q-usdhc";*/
	/*reg = <0x02194000 0x4000>;*/
	/*interrupts = <0 23 0x04>;*/
	pinctrl-names = "default";
	pinctrl-0 = <&pinctrl_usdhc3>;
	bus-width = <4>;
	non-removable; /* How do we set the bus to only 1.8V?  NVCC_SD3 = 1.8V, but is there a eFuse or register setting? */
	keep-power-in-suspend;
	enable-sdio-wakeup; /* need to set GPIO for wake to function??? */
	status = "okay";
};

&usdhc4 {
	pinctrl-names = "default";
	pinctrl-0 = <&pinctrl_usdhc4>;
	bus-width = <8>;
	non-removable;
	no-1-8-v;
	keep-power-in-suspend;
	status = "okay";
};

&wdog1 {
	pinctrl-names = "default";
	pinctrl-0 = <&pinctrl_wdog>;
        /* MJ: I think the driver needs to know whether to set the internal or external wdog_b */
	fsl,wdog_b; /* MJ: I think this enables the "software" reset aka "internal" reset wdog_b signal */
	/*fsl,ext-reset-output; *//* MJ: I think this enables the "external" reset pad wdog_b */
	status = "okay";
};

/* MJ: Comment out pinctrl too - I think wdog2 is for TZ only */
&wdog2 {
        /*pinctrl-names = "default";*/
	/*pinctrl-0 = <&pinctrl_wdog>;*/
	/*fsl,ext-reset-output; */ /* MJ: I think this enables the "external" reset pad wdog_b */
	status = "disabled";
};


